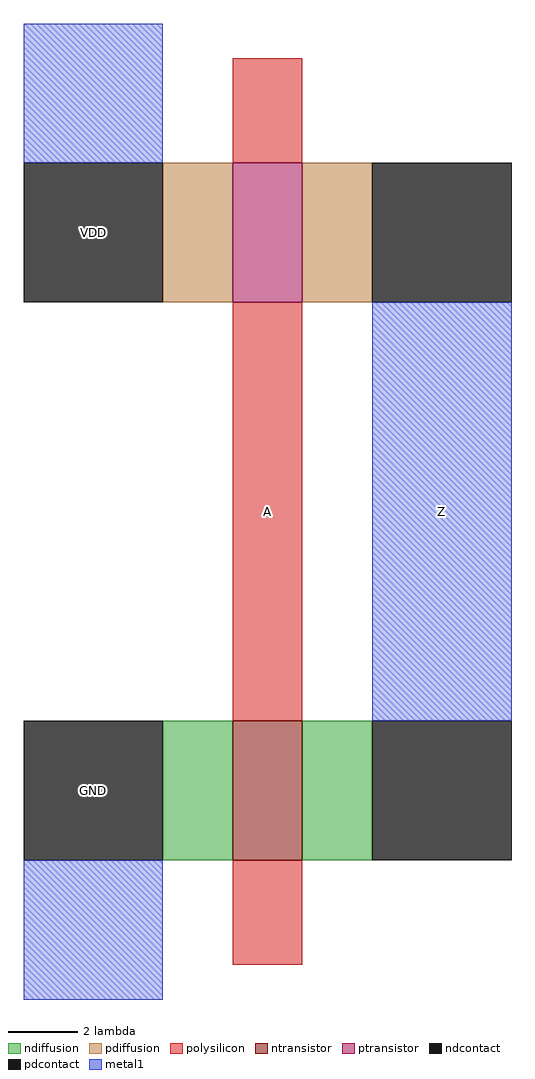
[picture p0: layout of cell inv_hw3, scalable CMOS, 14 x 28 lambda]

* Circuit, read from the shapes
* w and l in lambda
.subckt inv_hw3 A GND VDD Z
M1 Z A GND VSUBS nfet w=4 l=2
M2 Z A VDD NWELL pfet w=4 l=2
.ends

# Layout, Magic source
magic
tech scmos
<< ntransistor >>
rect 6 0 8 4
<< ptransistor >>
rect 6 16 8 20
<< ndiffusion >>
rect 4 0 6 4
rect 8 0 10 4
<< pdiffusion >>
rect 4 16 6 20
rect 8 16 10 20
<< ndcontact >>
rect 0 0 4 4
rect 10 0 14 4
<< pdcontact >>
rect 0 16 4 20
rect 10 16 14 20
<< polysilicon >>
rect 6 20 8 23
rect 6 4 8 16
rect 6 -3 8 0
<< metal1 >>
rect 0 20 4 24
rect 10 4 14 16
rect 0 -4 4 0
<< labels >>
rlabel pdcontact 2 18 2 18 1 VDD
rlabel ndcontact 2 2 2 2 1 GND
rlabel metal1 12 10 12 10 1 Z
rlabel polysilicon 7 10 7 10 1 A
<< end >>
